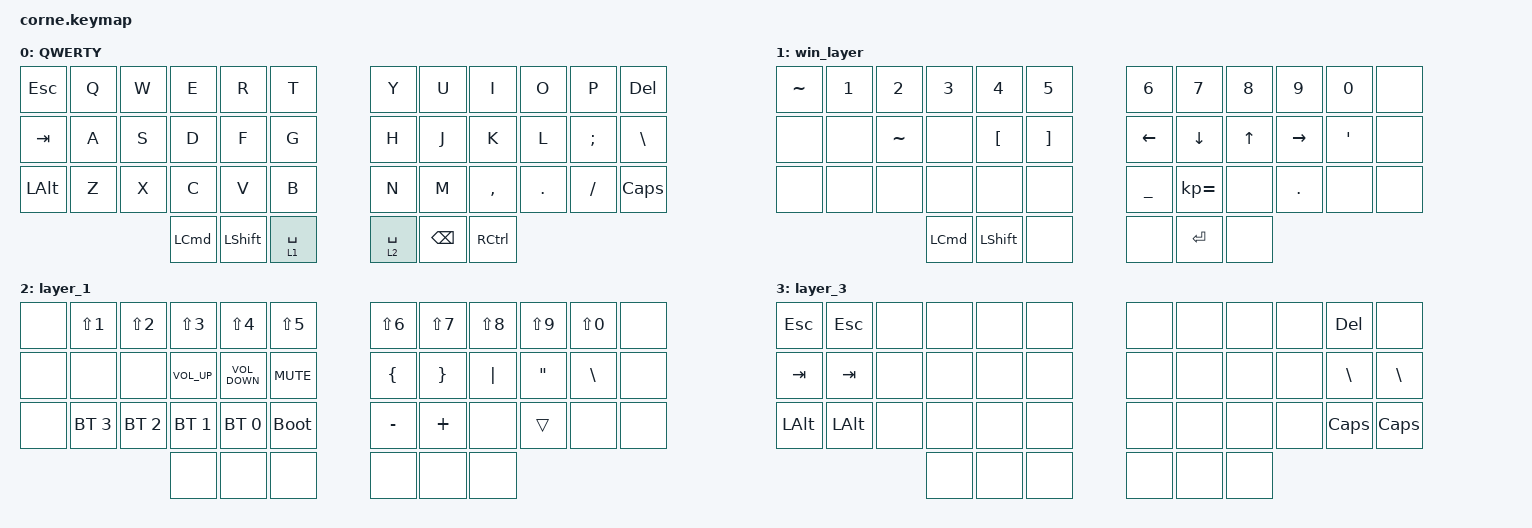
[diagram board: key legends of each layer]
/*
 * Copyright (c) 2020 The ZMK Contributors
 *
 * SPDX-License-Identifier: MIT
 */

#include <behaviors.dtsi>
#include <dt-bindings/zmk/bt.h>
#include <dt-bindings/zmk/keys.h>

/ {
    combos {
        compatible = "zmk,combos";

        layer3 {
            bindings = <&lt 3 SPACE>;
            key-positions = <38 39>;
        };
    };

    keymap {
        compatible = "zmk,keymap";

        mac_layer {
            display-name = "QWERTY";
            bindings = <
&kp ESCAPE  &kp Q  &kp W  &kp E             &kp R           &kp T          &kp Y        &kp U          &kp I              &kp O    &kp P     &kp DELETE
&kp TAB     &kp A  &kp S  &kp D             &kp F           &kp G          &kp H        &kp J          &kp K              &kp L    &kp SEMI  &kp BSLH
&kp LALT    &kp Z  &kp X  &kp C             &kp V           &kp B          &kp N        &kp M          &kp COMMA          &kp DOT  &kp FSLH  &kp CAPS
                          &kp LEFT_COMMAND  &kp LEFT_SHIFT  &lt 1 SPACE    &lt 2 SPACE  &kp BACKSPACE  &kp RIGHT_CONTROL
            >;
        };

        win_layer {
            bindings = <
&kp TILDE  &kp N1  &kp N2     &kp N3            &kp N4            &kp N5               &kp N6     &kp N7        &kp N8  &kp N9      &kp N0   &none
&none      &none   &kp TILDE  &none             &kp LEFT_BRACKET  &kp RIGHT_BRACKET    &kp LEFT   &kp DOWN      &kp UP  &kp RIGHT   &kp SQT  &none
&none      &none   &none      &none             &none             &none                &kp UNDER  &kp KP_EQUAL  &none   &kp PERIOD  &none    &none
                              &kp LEFT_COMMAND  &kp LSHFT         &none                &none      &kp ENTER     &none
            >;
        };

        layer_1 {
            bindings = <
&none  &kp LS(N1)    &kp LS(N2)    &kp LS(N3)       &kp LS(N4)         &kp LS(N5)     &kp LS(N6)      &kp LS(N7)       &kp LS(N8)  &kp LS(N9)         &kp LS(N0)     &none
&none  &none         &none         &kp C_VOLUME_UP  &kp C_VOLUME_DOWN  &kp K_MUTE     &kp LEFT_BRACE  &kp RIGHT_BRACE  &kp PIPE    &kp DOUBLE_QUOTES  &kp BACKSLASH  &none
&none  &bt BT_SEL 3  &bt BT_SEL 2  &bt BT_SEL 1     &bt BT_SEL 0       &bootloader    &kp MINUS       &kp PLUS         &none       &trans             &none          &none
                                   &none            &none              &none          &none           &none            &none
            >;
        };

        layer_3 {
            bindings = <
&kp ESC       &kp ESC   &none  &none  &none  &none    &none  &none  &none  &none  &kp DELETE  &none
&kp TAB       &kp TAB   &none  &none  &none  &none    &none  &none  &none  &none  &kp BSLH    &kp BSLH
&kp LEFT_ALT  &kp LALT  &none  &none  &none  &none    &none  &none  &none  &none  &kp CAPS    &kp CAPS
                               &none  &none  &none    &none  &none  &none
            >;
        };
    };
};
